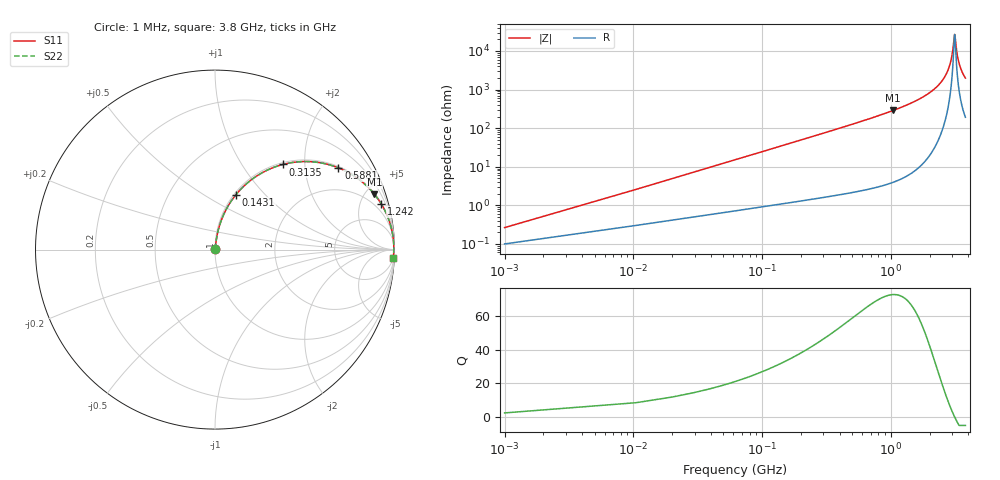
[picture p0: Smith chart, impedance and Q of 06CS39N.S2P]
! Coilcraft 0603CS-39N Chip Inductor
! 21 May 2002
# MHZ S MA R 50
!Freq  MagS11  AngS11  MagS21  AngS21  MagS12  AngS12  MagS22  AngS22
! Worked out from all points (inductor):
!   403 points, 1 MHz to 3.8 GHz, reference 50 ohm
!   read as one part in series: L = 39 nH near 19.94 MHz
!   highest Q = 72.8 at 1.043 GHz (marker M1), where L = 43.8 nH
!   self-resonance near 3.136 GHz
!   S11 on the Smith chart (normalised r, x): 1 MHz: 1.00, +0.00; 143.1 MHz: 1.02, +0.70; 313.5 MHz: 1.03, +1.55; 588.1 MHz: 1.05, +2.99; 1.242 GHz: 1.10, +7.21; 3.8 GHz: 5, -40
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1  0.002644 67.7  0.999 -0.1  0.999 -0.1  0.002644 67.7
29.41  0.0717 81.9  0.9925 -4.1  0.9925 -4.1  0.0717 81.9
38.88  0.09449 81.2  0.9899 -5.4  0.9899 -5.4  0.09449 81.2
76.76  0.1837 77.0  0.9752 -10.6  0.9752 -10.6  0.1837 77.0
143.05  0.3284 69.1  0.9344 -19.2  0.9344 -19.2  0.3284 69.1
313.51  0.607 51.4  0.782 -37.4  0.782 -37.4  0.607 51.4
588.14  0.825 33.5  0.5522 -55.6  0.5522 -55.6  0.825 33.5
635.49  0.8457 31.4  0.5207 -57.7  0.5207 -57.7  0.8457 31.4
1042.7  0.9404 19.1  0.3274 -70.1  0.3274 -70.1  0.9404 19.1
1241.57  0.9602 15.4  0.2662 -73.8  0.2662 -73.8  0.9602 15.4
1269.98  0.9624 15.0  0.2586 -74.2  0.2586 -74.2  0.9624 15.0
1904.47  0.9882 7.7  0.1337 -81.1  0.1337 -81.1  0.9882 7.7
2538.96  0.9954 3.2  0.0553 -83.7  0.0553 -83.7  0.9954 3.2
2870.41  0.9964 1.3  0.02334 -80.4  0.02334 -80.4  0.9964 1.3
3002.99  0.9964 0.7  0.01191 -72.1  0.01191 -72.1  0.9964 0.7
3126.1  0.9963 0.1  0.003822 -14.5  0.003822 -14.5  0.9963 0.1
3145.04  0.9963 -0.0  0.003775 9.2  0.003775 9.2  0.9963 -0.0
3173.45  0.9962 -0.2  0.004774 37.7  0.004774 37.7  0.9962 -0.2
3268.15  0.996 -0.6  0.01125 69.1  0.01125 69.1  0.996 -0.6
3391.26  0.9957 -1.2  0.02055 77.3  0.02055 77.3  0.9957 -1.2
3561.72  0.9951 -1.9  0.03316 80.5  0.03316 80.5  0.9951 -1.9
3800  0.9939 -2.9  0.05001 81.6  0.05001 81.6  0.9939 -2.9
